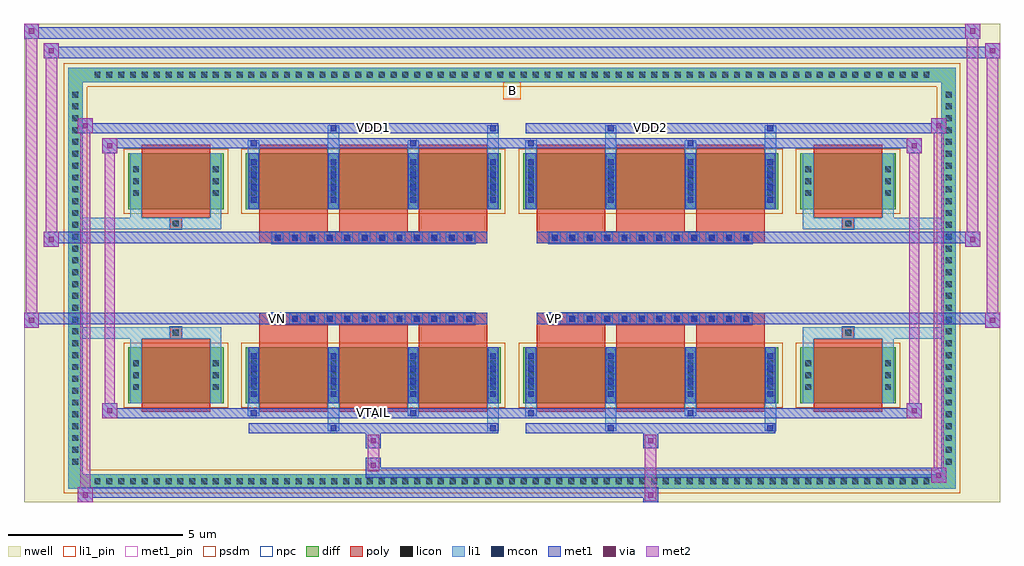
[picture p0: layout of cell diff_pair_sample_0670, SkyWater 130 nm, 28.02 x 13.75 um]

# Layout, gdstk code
import gdstk
lib = gdstk.Library(unit=1e-6, precision=5e-09)
def R(c, l, rs):  # rectangles x0, y0, x1, y1
    for r in rs: c.add(gdstk.rectangle(r[:2], r[2:], *l))
def A(c, l, x, y, w, h, nx, ny, dx, dy):  # array of equal rectangles
    R(c, l, [(x+i*dx, y+j*dy, x+i*dx+w, y+j*dy+h) for i in range(nx) for j in range(ny)])
def P(c, l, *ps):  # polygons
    for p in ps: c.add(gdstk.Polygon(p, *l))
nwell = (64, 20)
diff = (65, 20)
poly = (66, 20)
licon = (66, 44)
li1_pin = (67, 16)
li1 = (67, 20)
mcon = (67, 44)
met1_pin = (68, 16)
met1 = (68, 20)
via = (68, 44)
met2 = (69, 20)
psdm = (94, 20)
npc = (95, 20)

diff_pair_sample_0670 = lib.new_cell('diff_pair_sample_0670')
R(diff_pair_sample_0670, nwell, [(-14.01,-6.44,14.01,7.31), (-11.33,-4.63,-0.01,-0.795), (0.01,-4.63,11.33,-0.795), (-11.33,0.795,-0.01,4.63), (0.01,0.795,11.33,4.63)])
A(diff_pair_sample_0670, diff, -12.105, -6.04, 0.41, 0.41, 71, 2, 0.34, 11.67)
A(diff_pair_sample_0670, diff, -12.74, -5.475, 0.41, 0.41, 1, 32, 0, 0.34)
A(diff_pair_sample_0670, diff, 12.33, -5.475, 0.41, 0.41, 1, 32, 0, 0.34)
R(diff_pair_sample_0670, diff, [(-12.105,-6.04,12.105,-5.63), (-12.74,-5.475,-12.33,5.475), (12.33,-5.475,12.74,5.475), (-11.02,-3.585,-8.28,-1.985), (-7.64,-3.585,-0.32,-1.985), (0.32,-3.585,7.64,-1.985), (8.28,-3.585,11.02,-1.985), (-11.02,1.985,-8.28,3.585), (-7.64,1.985,-0.32,3.585), (0.32,1.985,7.64,3.585), (8.28,1.985,11.02,3.585), (-12.105,5.63,12.105,6.04)])
P(diff_pair_sample_0670, diff, [(12.74,6.04),(-12.74,6.04),(-12.74,-5.63),(-12.33,-5.63),(-12.33,5.63),(12.33,5.63),(12.33,-5.63),(-12.33,-5.63),(-12.74,-5.63),(-12.74,-6.04),(12.74,-6.04)])
A(diff_pair_sample_0670, poly, -7.25, -3.835, 1.96, 2.1, 3, 2, 2.29, 5.57)
A(diff_pair_sample_0670, poly, 0.71, -3.835, 1.96, 2.1, 3, 2, 2.29, 5.57)
A(diff_pair_sample_0670, poly, -7.25, -1.735, 1.96, 0.41, 3, 2, 2.29, 3.06)
A(diff_pair_sample_0670, poly, 0.71, -1.735, 1.96, 0.41, 3, 2, 2.29, 3.06)
A(diff_pair_sample_0670, poly, -6.895, -1.325, 0.33, 0.33, 12, 2, 0.5, 2.32)
A(diff_pair_sample_0670, poly, 1.065, -1.325, 0.33, 0.33, 12, 2, 0.5, 2.32)
R(diff_pair_sample_0670, poly, [(-10.63,-3.835,-8.67,-1.735), (8.67,-3.835,10.63,-1.735), (-9.815,-1.735,-9.485,-1.405), (-9.815,-1.735,-9.485,-1.405), (9.485,-1.735,9.815,-1.405), (9.485,-1.735,9.815,-1.405), (-7.25,-1.325,-0.71,-0.995), (0.71,-1.325,7.25,-0.995), (-7.25,0.995,-0.71,1.325), (0.71,0.995,7.25,1.325), (-9.815,1.405,-9.485,1.735), (-9.815,1.405,-9.485,1.735), (9.485,1.405,9.815,1.735), (9.485,1.405,9.815,1.735), (-10.63,1.735,-8.67,3.835), (8.67,1.735,10.63,3.835)])
A(diff_pair_sample_0670, licon, -11.985, -5.92, 0.17, 0.17, 71, 2, 0.34, 11.67)
A(diff_pair_sample_0670, licon, -12.62, -5.355, 0.17, 0.17, 1, 32, 0, 0.34)
A(diff_pair_sample_0670, licon, 12.45, -5.355, 0.17, 0.17, 1, 32, 0, 0.34)
A(diff_pair_sample_0670, licon, -10.88, -3.21, 0.17, 0.17, 1, 3, 0, 0.34)
A(diff_pair_sample_0670, licon, -8.59, -3.21, 0.17, 0.17, 1, 3, 0, 0.34)
A(diff_pair_sample_0670, licon, -7.5, -3.21, 0.17, 0.17, 4, 3, 2.29, 0.34)
A(diff_pair_sample_0670, licon, 0.46, -3.21, 0.17, 0.17, 4, 3, 2.29, 0.34)
A(diff_pair_sample_0670, licon, 8.42, -3.21, 0.17, 0.17, 1, 3, 0, 0.34)
A(diff_pair_sample_0670, licon, 10.71, -3.21, 0.17, 0.17, 1, 3, 0, 0.34)
A(diff_pair_sample_0670, licon, -6.815, -1.245, 0.17, 0.17, 12, 2, 0.5, 2.32)
A(diff_pair_sample_0670, licon, 1.145, -1.245, 0.17, 0.17, 12, 2, 0.5, 2.32)
A(diff_pair_sample_0670, licon, -10.88, 2.36, 0.17, 0.17, 1, 3, 0, 0.34)
A(diff_pair_sample_0670, licon, -8.59, 2.36, 0.17, 0.17, 1, 3, 0, 0.34)
A(diff_pair_sample_0670, licon, -7.5, 2.36, 0.17, 0.17, 4, 3, 2.29, 0.34)
A(diff_pair_sample_0670, licon, 0.46, 2.36, 0.17, 0.17, 4, 3, 2.29, 0.34)
A(diff_pair_sample_0670, licon, 8.42, 2.36, 0.17, 0.17, 1, 3, 0, 0.34)
A(diff_pair_sample_0670, licon, 10.71, 2.36, 0.17, 0.17, 1, 3, 0, 0.34)
R(diff_pair_sample_0670, licon, [(-9.735,-1.655,-9.565,-1.485), (9.565,-1.655,9.735,-1.485), (-9.735,1.485,-9.565,1.655), (9.565,1.485,9.735,1.655)])
R(diff_pair_sample_0670, li1_pin, [(-0.25,5.13,0.25,5.63)])
A(diff_pair_sample_0670, li1, -12.065, -6, 0.33, 0.33, 71, 2, 0.34, 11.67)
A(diff_pair_sample_0670, li1, -12.7, -5.435, 0.33, 0.33, 1, 32, 0, 0.34)
A(diff_pair_sample_0670, li1, 12.37, -5.435, 0.33, 0.33, 1, 32, 0, 0.34)
A(diff_pair_sample_0670, li1, -7.58, -3.585, 0.33, 1.6, 4, 2, 2.29, 5.57)
A(diff_pair_sample_0670, li1, 0.38, -3.585, 0.33, 1.6, 4, 2, 2.29, 5.57)
A(diff_pair_sample_0670, li1, -7.5, -3.41, 0.17, 0.17, 4, 4, 2.29, 0.36)
A(diff_pair_sample_0670, li1, -7.5, -3.41, 0.17, 1.25, 4, 2, 2.29, 5.57)
A(diff_pair_sample_0670, li1, 0.46, -3.41, 0.17, 0.17, 4, 4, 2.29, 0.36)
A(diff_pair_sample_0670, li1, 0.46, -3.41, 0.17, 1.25, 4, 2, 2.29, 5.57)
A(diff_pair_sample_0670, li1, -10.96, -3.29, 0.33, 0.33, 1, 3, 0, 0.34)
A(diff_pair_sample_0670, li1, -8.67, -3.29, 0.33, 0.33, 1, 3, 0, 0.34)
A(diff_pair_sample_0670, li1, -7.58, -3.29, 0.33, 0.33, 4, 3, 2.29, 0.34)
A(diff_pair_sample_0670, li1, 0.38, -3.29, 0.33, 0.33, 4, 3, 2.29, 0.34)
A(diff_pair_sample_0670, li1, 8.34, -3.29, 0.33, 0.33, 1, 3, 0, 0.34)
A(diff_pair_sample_0670, li1, 10.63, -3.29, 0.33, 0.33, 1, 3, 0, 0.34)
A(diff_pair_sample_0670, li1, -6.895, -1.325, 0.33, 0.33, 12, 2, 0.5, 2.32)
A(diff_pair_sample_0670, li1, 1.065, -1.325, 0.33, 0.33, 12, 2, 0.5, 2.32)
A(diff_pair_sample_0670, li1, -7.5, 2.16, 0.17, 0.17, 4, 4, 2.29, 0.36)
A(diff_pair_sample_0670, li1, 0.46, 2.16, 0.17, 0.17, 4, 4, 2.29, 0.36)
A(diff_pair_sample_0670, li1, -10.96, 2.28, 0.33, 0.33, 1, 3, 0, 0.34)
A(diff_pair_sample_0670, li1, -8.67, 2.28, 0.33, 0.33, 1, 3, 0, 0.34)
A(diff_pair_sample_0670, li1, -7.58, 2.28, 0.33, 0.33, 4, 3, 2.29, 0.34)
A(diff_pair_sample_0670, li1, 0.38, 2.28, 0.33, 0.33, 4, 3, 2.29, 0.34)
A(diff_pair_sample_0670, li1, 8.34, 2.28, 0.33, 0.33, 1, 3, 0, 0.34)
A(diff_pair_sample_0670, li1, 10.63, 2.28, 0.33, 0.33, 1, 3, 0, 0.34)
R(diff_pair_sample_0670, li1, [(-12.74,-6.04,-12.33,-5.63), (-12.74,-6.04,-12.33,-5.63), (-12.33,-6.04,12.33,-5.63), (12.33,-6.04,12.74,-5.63), (12.33,-6.04,12.74,-5.63), (-12.74,-5.63,-12.33,5.63), (12.33,-5.63,12.74,5.63), (-5.29,-4.39,-4.96,-3.585), (-5.21,-4.39,-5.04,-4.22), (-0.71,-4.39,-0.38,-3.585), (-0.63,-4.39,-0.46,-4.22), (2.67,-4.39,3,-3.585), (2.75,-4.39,2.92,-4.22), (7.25,-4.39,7.58,-3.585), (7.33,-4.39,7.5,-4.22), (-7.58,-3.96,-7.25,-3.585), (-7.5,-3.96,-7.33,-3.79), (-3,-3.96,-2.67,-3.585), (-2.92,-3.96,-2.75,-3.79), (0.38,-3.96,0.71,-3.585), (0.46,-3.96,0.63,-3.79), (4.96,-3.96,5.29,-3.585), (5.04,-3.96,5.21,-3.79), (-10.96,-3.585,-10.63,-1.985), (-8.67,-3.585,-8.34,-1.985), (8.34,-3.585,8.67,-1.985), (10.63,-3.585,10.96,-1.985), (-10.96,-1.985,-10.63,-1.405), (-8.67,-1.985,-8.34,-1.405), (8.34,-1.985,8.67,-1.405), (10.63,-1.985,10.96,-1.405), (-12.74,-1.735,-9.815,-1.405), (-10.96,-1.735,-9.815,-1.405), (-9.815,-1.735,-9.485,-1.405), (-9.485,-1.735,-8.34,-1.405), (8.34,-1.735,9.485,-1.405), (9.485,-1.735,9.815,-1.405), (9.485,-1.735,12.74,-1.405), (9.815,-1.735,10.96,-1.405), (-12.74,1.405,-9.815,1.735), (-10.96,1.405,-9.815,1.735), (-10.96,1.405,-10.63,1.985), (-9.815,1.405,-9.485,1.735), (-9.485,1.405,-8.34,1.735), (-8.67,1.405,-8.34,1.985), (8.34,1.405,9.485,1.735), (8.34,1.405,8.67,1.985), (9.485,1.405,9.815,1.735), (9.485,1.405,12.74,1.735), (9.815,1.405,10.96,1.735), (10.63,1.405,10.96,1.985), (-10.96,1.985,-10.63,3.585), (-8.67,1.985,-8.34,3.585), (8.34,1.985,8.67,3.585), (10.63,1.985,10.96,3.585), (-7.58,3.585,-7.25,3.96), (-5.29,3.585,-4.96,4.39), (-3,3.585,-2.67,3.96), (-0.71,3.585,-0.38,4.39), (0.38,3.585,0.71,3.96), (2.67,3.585,3,4.39), (4.96,3.585,5.29,3.96), (7.25,3.585,7.58,4.39), (-7.5,3.79,-7.33,3.96), (-2.92,3.79,-2.75,3.96), (0.46,3.79,0.63,3.96), (5.04,3.79,5.21,3.96), (-5.21,4.22,-5.04,4.39), (-0.63,4.22,-0.46,4.39), (2.75,4.22,2.92,4.39), (7.33,4.22,7.5,4.39), (-12.74,5.63,-12.33,6.04), (-12.74,5.63,-12.33,6.04), (-12.33,5.63,12.33,6.04), (12.33,5.63,12.74,6.04), (12.33,5.63,12.74,6.04)])
A(diff_pair_sample_0670, mcon, -7.5, -3.41, 0.17, 0.17, 4, 4, 2.29, 0.36)
A(diff_pair_sample_0670, mcon, 0.46, -3.41, 0.17, 0.17, 4, 4, 2.29, 0.36)
A(diff_pair_sample_0670, mcon, -6.815, -1.245, 0.17, 0.17, 12, 2, 0.5, 2.32)
A(diff_pair_sample_0670, mcon, 1.145, -1.245, 0.17, 0.17, 12, 2, 0.5, 2.32)
A(diff_pair_sample_0670, mcon, -7.5, 2.16, 0.17, 0.17, 4, 4, 2.29, 0.36)
A(diff_pair_sample_0670, mcon, 0.46, 2.16, 0.17, 0.17, 4, 4, 2.29, 0.36)
R(diff_pair_sample_0670, mcon, [(-5.21,-4.39,-5.04,-4.22), (-0.63,-4.39,-0.46,-4.22), (2.75,-4.39,2.92,-4.22), (7.33,-4.39,7.5,-4.22), (-7.5,-3.96,-7.33,-3.79), (-2.92,-3.96,-2.75,-3.79), (0.46,-3.96,0.63,-3.79), (5.04,-3.96,5.21,-3.79), (-7.5,3.79,-7.33,3.96), (-2.92,3.79,-2.75,3.96), (0.46,3.79,0.63,3.96), (5.04,3.79,5.21,3.96), (-5.21,4.22,-5.04,4.39), (-0.63,4.22,-0.46,4.39), (2.75,4.22,2.92,4.39), (7.33,4.22,7.5,4.39)])
R(diff_pair_sample_0670, met1_pin, [(-4.115,-4,-3.845,-3.73), (-6.865,-1.285,-6.595,-1.015), (1.095,-1.285,1.365,-1.015), (-4.115,4.18,-3.845,4.45), (3.845,4.18,4.115,4.45)])
A(diff_pair_sample_0670, met1, -7.56, -3.585, 0.29, 1.6, 4, 2, 2.29, 5.57)
A(diff_pair_sample_0670, met1, 0.4, -3.585, 0.29, 1.6, 4, 2, 2.29, 5.57)
A(diff_pair_sample_0670, met1, -7.56, -3.47, 0.29, 0.29, 4, 4, 2.29, 0.36)
A(diff_pair_sample_0670, met1, 0.4, -3.47, 0.29, 0.29, 4, 4, 2.29, 0.36)
A(diff_pair_sample_0670, met1, -6.875, -1.305, 0.29, 0.29, 12, 2, 0.5, 2.32)
A(diff_pair_sample_0670, met1, 1.085, -1.305, 0.29, 0.29, 12, 2, 0.5, 2.32)
A(diff_pair_sample_0670, met1, -7.56, 2.1, 0.29, 0.29, 4, 4, 2.29, 0.36)
A(diff_pair_sample_0670, met1, 0.4, 2.1, 0.29, 0.29, 4, 4, 2.29, 0.36)
R(diff_pair_sample_0670, met1, [(-12.47,-6.44,-12.04,-6.01), (3.765,-6.44,4.195,-6.01), (-12.47,-6.3,4.195,-6.01), (12.04,-5.87,12.47,-5.44), (-4.195,-5.73,12.47,-5.44), (-4.195,-5.59,-3.765,-5.16), (-4.195,-4.88,-3.765,-4.45), (3.765,-4.88,4.195,-4.45), (-7.56,-4.45,-0.4,-4.16), (-5.27,-4.45,-4.98,-4.16), (-0.69,-4.45,-0.4,-4.16), (0.4,-4.45,7.56,-4.16), (2.69,-4.45,2.98,-4.16), (7.27,-4.45,7.56,-4.16), (-11.76,-4.02,-11.33,-3.59), (-11.76,-4.02,-7.56,-3.73), (-7.56,-4.02,-7.27,-3.73), (-7.56,-4.02,-0.4,-3.73), (-2.98,-4.02,-2.69,-3.73), (-0.4,-4.02,0.4,-3.73), (0.4,-4.02,0.69,-3.73), (0.4,-4.02,7.56,-3.73), (4.98,-4.02,5.27,-3.73), (7.56,-4.02,11.76,-3.73), (11.33,-4.02,11.76,-3.59), (-14.01,-1.425,-13.58,-0.995), (13.58,-1.425,14.01,-0.995), (-14.01,-1.325,-0.71,-0.995), (-7.25,-1.325,-0.71,-0.995), (0.71,-1.325,7.25,-0.995), (0.71,-1.325,14.01,-0.995), (-13.44,0.895,-13.01,1.325), (13.01,0.895,13.44,1.325), (-13.44,0.995,-7.25,1.325), (-7.25,0.995,-0.71,1.325), (0.71,0.995,7.25,1.325), (7.25,0.995,13.44,1.325), (-11.76,3.59,-11.33,4.02), (11.33,3.59,11.76,4.02), (-11.76,3.73,-7.56,4.02), (-7.56,3.73,-7.27,4.02), (-7.56,3.73,-0.4,4.02), (-2.98,3.73,-2.69,4.02), (-0.4,3.73,0.4,4.02), (0.4,3.73,0.69,4.02), (0.4,3.73,7.56,4.02), (4.98,3.73,5.27,4.02), (7.56,3.73,11.76,4.02), (-12.47,4.16,-12.04,4.59), (-12.47,4.16,-7.56,4.45), (-7.56,4.16,-0.4,4.45), (-5.27,4.16,-4.98,4.45), (-0.69,4.16,-0.4,4.45), (0.4,4.16,7.56,4.45), (2.69,4.16,2.98,4.45), (7.27,4.16,7.56,4.45), (7.56,4.16,12.47,4.45), (12.04,4.16,12.47,4.59), (-13.44,6.31,-13.01,6.74), (-13.44,6.31,-11.33,6.64), (-11.33,6.31,11.33,6.64), (11.33,6.31,14.01,6.64), (13.58,6.31,14.01,6.74), (-14.01,6.88,-13.58,7.31), (-14.01,6.88,-11.33,7.21), (-11.33,6.88,11.33,7.21), (11.33,6.88,13.44,7.21), (13.01,6.88,13.44,7.31)])
R(diff_pair_sample_0670, via, [(-12.33,-6.3,-12.18,-6.15), (3.905,-6.3,4.055,-6.15), (12.18,-5.73,12.33,-5.58), (-4.055,-5.45,-3.905,-5.3), (-4.055,-4.74,-3.905,-4.59), (3.905,-4.74,4.055,-4.59), (-11.62,-3.88,-11.47,-3.73), (11.47,-3.88,11.62,-3.73), (-13.87,-1.285,-13.72,-1.135), (13.72,-1.285,13.87,-1.135), (-13.3,1.035,-13.15,1.185), (13.15,1.035,13.3,1.185), (-11.62,3.73,-11.47,3.88), (11.47,3.73,11.62,3.88), (-12.33,4.3,-12.18,4.45), (12.18,4.3,12.33,4.45), (-13.3,6.45,-13.15,6.6), (13.72,6.45,13.87,6.6), (-13.87,7.02,-13.72,7.17), (13.15,7.02,13.3,7.17)])
R(diff_pair_sample_0670, met2, [(-12.47,-6.44,-12.04,-6.01), (-12.4,-6.44,-12.11,4.59), (-12.11,-6.44,-12.04,-6.01), (-12.42,-6.39,-12.09,-6.06), (3.815,-6.39,4.145,-6.06), (3.815,-6.06,4.145,-4.83), (12.04,-5.87,12.47,-5.44), (12.11,-5.87,12.4,4.59), (12.4,-5.87,12.47,-5.44), (12.09,-5.82,12.42,-5.49), (-4.145,-5.54,-3.815,-5.21), (-4.145,-5.21,-3.815,-4.83), (-4.145,-4.83,-3.815,-4.5), (3.815,-4.83,4.145,-4.5), (-11.76,-4.02,-11.33,-3.59), (-11.69,-4.02,-11.4,4.02), (-11.4,-4.02,-11.33,-3.59), (11.33,-4.02,11.76,-3.59), (11.4,-4.02,11.69,4.02), (11.69,-4.02,11.76,-3.59), (-11.71,-3.97,-11.38,-3.64), (11.38,-3.97,11.71,-3.64), (-14.01,-1.425,-13.58,-0.995), (-13.96,-1.425,-13.63,7.31), (-13.63,-1.425,-13.58,-0.995), (13.58,-1.425,14.01,-0.995), (13.63,-1.425,13.96,6.74), (13.96,-1.425,14.01,-0.995), (-13.96,-1.375,-13.63,-1.045), (13.63,-1.375,13.96,-1.045), (-13.44,0.895,-13.01,1.325), (-13.39,0.895,-13.06,6.74), (-13.06,0.895,-13.01,1.325), (13.01,0.895,13.44,1.325), (13.06,0.895,13.39,7.31), (13.39,0.895,13.44,1.325), (-13.39,0.945,-13.06,1.275), (13.06,0.945,13.39,1.275), (-11.76,3.59,-11.33,4.02), (-11.4,3.59,-11.33,4.02), (11.33,3.59,11.76,4.02), (11.69,3.59,11.76,4.02), (-11.71,3.64,-11.38,3.97), (11.38,3.64,11.71,3.97), (-12.47,4.16,-12.04,4.59), (-12.11,4.16,-12.04,4.59), (12.04,4.16,12.47,4.59), (12.4,4.16,12.47,4.59), (-12.42,4.21,-12.09,4.54), (12.09,4.21,12.42,4.54), (-13.44,6.31,-13.01,6.74), (-13.06,6.31,-13.01,6.74), (13.58,6.31,14.01,6.74), (13.96,6.31,14.01,6.74), (-13.39,6.36,-13.06,6.69), (13.63,6.36,13.96,6.69), (-14.01,6.88,-13.58,7.31), (-13.63,6.88,-13.58,7.31), (13.01,6.88,13.44,7.31), (13.39,6.88,13.44,7.31), (-13.96,6.93,-13.63,7.26), (13.06,6.93,13.39,7.26)])
R(diff_pair_sample_0670, psdm, [(-11.15,-3.715,-8.15,-1.855), (-7.77,-3.715,-0.19,-1.855), (0.19,-3.715,7.77,-1.855), (8.15,-3.715,11.15,-1.855), (-11.15,1.855,-8.15,3.715), (-7.77,1.855,-0.19,3.715), (0.19,1.855,7.77,3.715), (8.15,1.855,11.15,3.715)])
P(diff_pair_sample_0670, psdm, [(12.87,6.17),(-12.87,6.17),(-12.87,-5.5),(-12.2,-5.5),(-12.2,5.5),(12.2,5.5),(12.2,-5.5),(-12.2,-5.5),(-12.87,-5.5),(-12.87,-6.17),(12.87,-6.17)])
A(diff_pair_sample_0670, npc, -6.915, -1.345, 0.37, 0.37, 12, 2, 0.5, 2.32)
A(diff_pair_sample_0670, npc, 1.045, -1.345, 0.37, 0.37, 12, 2, 0.5, 2.32)
R(diff_pair_sample_0670, npc, [(-9.835,-1.755,-9.465,-1.385), (9.465,-1.755,9.835,-1.385), (-6.915,-1.345,-6.045,-0.975), (-6.915,-1.345,-6.045,-0.975), (-6.415,-1.345,-5.545,-0.975), (-6.415,-1.345,-5.545,-0.975), (-5.915,-1.345,-5.045,-0.975), (-5.915,-1.345,-5.045,-0.975), (-5.415,-1.345,-4.545,-0.975), (-5.415,-1.345,-4.545,-0.975), (-4.915,-1.345,-4.045,-0.975), (-4.915,-1.345,-4.045,-0.975), (-4.415,-1.345,-3.545,-0.975), (-4.415,-1.345,-3.545,-0.975), (-3.915,-1.345,-3.045,-0.975), (-3.915,-1.345,-3.045,-0.975), (-3.415,-1.345,-2.545,-0.975), (-3.415,-1.345,-2.545,-0.975), (-2.915,-1.345,-2.045,-0.975), (-2.915,-1.345,-2.045,-0.975), (-2.415,-1.345,-1.545,-0.975), (-2.415,-1.345,-1.545,-0.975), (-1.915,-1.345,-1.045,-0.975), (-1.915,-1.345,-1.045,-0.975), (1.045,-1.345,1.915,-0.975), (1.045,-1.345,1.915,-0.975), (1.545,-1.345,2.415,-0.975), (1.545,-1.345,2.415,-0.975), (2.045,-1.345,2.915,-0.975), (2.045,-1.345,2.915,-0.975), (2.545,-1.345,3.415,-0.975), (2.545,-1.345,3.415,-0.975), (3.045,-1.345,3.915,-0.975), (3.045,-1.345,3.915,-0.975), (3.545,-1.345,4.415,-0.975), (3.545,-1.345,4.415,-0.975), (4.045,-1.345,4.915,-0.975), (4.045,-1.345,4.915,-0.975), (4.545,-1.345,5.415,-0.975), (4.545,-1.345,5.415,-0.975), (5.045,-1.345,5.915,-0.975), (5.045,-1.345,5.915,-0.975), (5.545,-1.345,6.415,-0.975), (5.545,-1.345,6.415,-0.975), (6.045,-1.345,6.915,-0.975), (6.045,-1.345,6.915,-0.975), (-6.915,0.975,-6.045,1.345), (-6.915,0.975,-6.045,1.345), (-6.415,0.975,-5.545,1.345), (-6.415,0.975,-5.545,1.345), (-5.915,0.975,-5.045,1.345), (-5.915,0.975,-5.045,1.345), (-5.415,0.975,-4.545,1.345), (-5.415,0.975,-4.545,1.345), (-4.915,0.975,-4.045,1.345), (-4.915,0.975,-4.045,1.345), (-4.415,0.975,-3.545,1.345), (-4.415,0.975,-3.545,1.345), (-3.915,0.975,-3.045,1.345), (-3.915,0.975,-3.045,1.345), (-3.415,0.975,-2.545,1.345), (-3.415,0.975,-2.545,1.345), (-2.915,0.975,-2.045,1.345), (-2.915,0.975,-2.045,1.345), (-2.415,0.975,-1.545,1.345), (-2.415,0.975,-1.545,1.345), (-1.915,0.975,-1.045,1.345), (-1.915,0.975,-1.045,1.345), (1.045,0.975,1.915,1.345), (1.045,0.975,1.915,1.345), (1.545,0.975,2.415,1.345), (1.545,0.975,2.415,1.345), (2.045,0.975,2.915,1.345), (2.045,0.975,2.915,1.345), (2.545,0.975,3.415,1.345), (2.545,0.975,3.415,1.345), (3.045,0.975,3.915,1.345), (3.045,0.975,3.915,1.345), (3.545,0.975,4.415,1.345), (3.545,0.975,4.415,1.345), (4.045,0.975,4.915,1.345), (4.045,0.975,4.915,1.345), (4.545,0.975,5.415,1.345), (4.545,0.975,5.415,1.345), (5.045,0.975,5.915,1.345), (5.045,0.975,5.915,1.345), (5.545,0.975,6.415,1.345), (5.545,0.975,6.415,1.345), (6.045,0.975,6.915,1.345), (6.045,0.975,6.915,1.345), (-9.835,1.385,-9.465,1.755), (9.465,1.385,9.835,1.755)])
diff_pair_sample_0670.add(gdstk.Label('VTAIL', (-3.98,-3.865), layer=68, texttype=5))
diff_pair_sample_0670.add(gdstk.Label('VN', (-6.73,-1.15), layer=68, texttype=5))
diff_pair_sample_0670.add(gdstk.Label('VP', (1.23,-1.15), layer=68, texttype=5))
diff_pair_sample_0670.add(gdstk.Label('B', (0,5.38), layer=67, texttype=5))
diff_pair_sample_0670.add(gdstk.Label('VDD2', (3.98,4.315), layer=68, texttype=5))
diff_pair_sample_0670.add(gdstk.Label('VDD1', (-3.98,4.315), layer=68, texttype=5))

lib.write_gds('diff_pair_sample_0670.gds')
